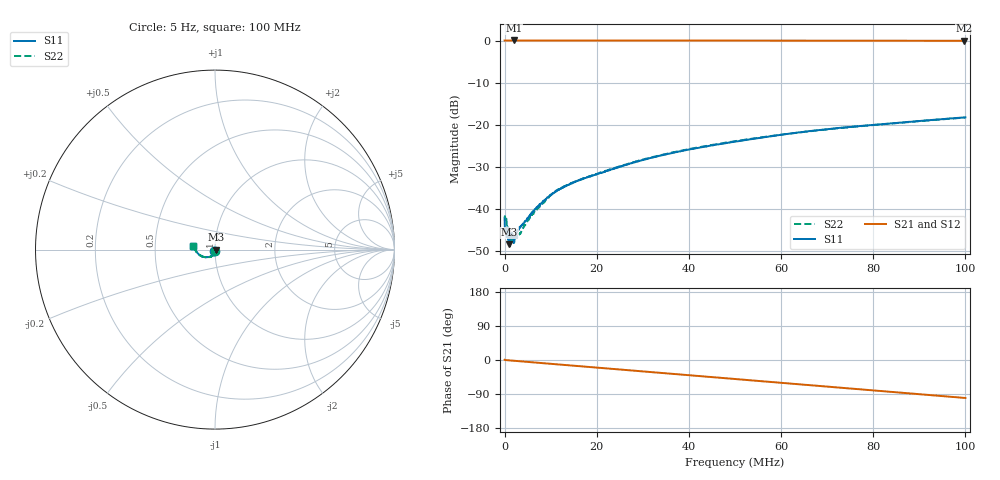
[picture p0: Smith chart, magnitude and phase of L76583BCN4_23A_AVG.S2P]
!Agilent Technologies,E5061B,MY49102235,A.02.00
!Date: Tue Jul 11 17:11:52 2023
!Data & Calibration Information:
!Freq	S11:SOLT2(ON)	S21:SOLT2(ON)	S12:SOLT2(ON)	S22:SOLT2(ON)
# Hz S RI R 50
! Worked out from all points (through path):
!   1600 points, 5 Hz to 100 MHz, reference 50 ohm
!   highest |S21| = 0.02 dB at 2.001 MHz (marker M1); lowest = -0.1 dB at 99.75 MHz (marker M2)
!   group delay of S21, straight-line fit = 2.79 ns
!   lowest |S11| = -48.4 dB at 1.001 MHz (marker M3), VSWR 1.01, Z = 50.4 - j0.089 ohm
!   |S11| at or under -10 dB: start of sweep to end of sweep
!   |S22| runs from -48.8 to -18.3 dB; largest |S21 - S12| = 0.003
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5  -0.00527 -0.00564  1.003 0.00789  1.001 0.0103  -0.00126 -0.00755
437778.6  0.00517 -0.000637  1.001 -0.00534  1.001 -0.00601  0.00661 -0.00226
625395.8  0.00511 -0.000702  1.002 -0.0105  1.002 -0.01  0.00612 -0.00102
1000630  0.00371 -0.000884  1.001 -0.0166  1.001 -0.0157  0.00507 -0.0018
1563482  0.00429 -0.00302  1.001 -0.0265  1 -0.0251  0.00309 -0.00361
2001256  0.00297 -0.00298  1.002 -0.0353  1.001 -0.0343  0.00311 -0.00271
2376490  0.00324 -0.00317  1 -0.0414  1 -0.0412  0.00389 -0.00285
3064420  0.0041 -0.00393  1 -0.0536  0.9988 -0.0529  0.00298 -0.00381
6003757  0.00322 -0.00832  0.9956 -0.1049  0.9954 -0.1041  0.00275 -0.00816
8880555  0.00182 -0.0129  0.9892 -0.1551  0.9889 -0.1542  0.00114 -0.0127
1.025641e7  0.000696 -0.0148  0.9852 -0.1788  0.9849 -0.178  -8.35e-05 -0.015
1.156974e7  -0.000246 -0.0168  0.9808 -0.2013  0.9803 -0.2006  -0.00115 -0.0169
1.669794e7  -0.00429 -0.0221  0.9582 -0.2883  0.958 -0.2876  -0.0047 -0.0221
2.582865e7  -0.0121 -0.0304  0.9003 -0.4371  0.8999 -0.4365  -0.01 -0.0316
3.333334e7  -0.0214 -0.0367  0.8347 -0.551  0.8346 -0.5503  -0.0201 -0.0378
4.033771e7  -0.0314 -0.0406  0.7607 -0.6485  0.7607 -0.6479  -0.0309 -0.0417
5.003127e7  -0.0465 -0.0424  0.64 -0.7675  0.64 -0.7668  -0.0467 -0.0433
6.672921e7  -0.0771 -0.0357  0.3909 -0.9177  0.3914 -0.9173  -0.0763 -0.0357
8.33646e7  -0.1024 -0.0124  0.1115 -0.9896  0.1117 -0.9893  -0.1017 -0.0144
9.155722e7  -0.1126 0.00337  -0.0311 -0.9942  -0.0308 -0.9939  -0.1123 0.000166
9.974984e7  -0.1204 0.021  -0.1725 -0.9783  -0.1718 -0.9783  -0.12 0.0181
1e8  -0.1206 0.0215  -0.1767 -0.9776  -0.1762 -0.9775  -0.1204 0.0188
